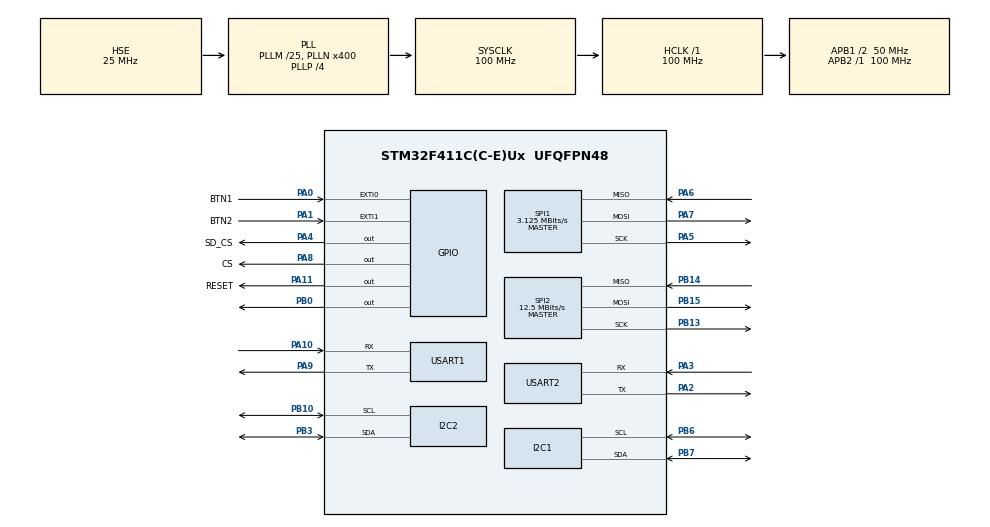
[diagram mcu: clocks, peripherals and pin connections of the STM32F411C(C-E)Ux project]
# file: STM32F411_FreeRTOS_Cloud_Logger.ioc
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Dma.Request0=USART2_TX
Dma.Request1=USART1_RX
Dma.USART1_RX.1.Direction=DMA_PERIPH_TO_MEMORY
Dma.USART1_RX.1.FIFOMode=DMA_FIFOMODE_DISABLE
Dma.USART1_RX.1.Instance=DMA2_Stream2
Dma.USART1_RX.1.MemDataAlignment=DMA_MDATAALIGN_BYTE
Dma.USART1_RX.1.MemInc=DMA_MINC_ENABLE
Dma.USART1_RX.1.Mode=DMA_CIRCULAR
Dma.USART1_RX.1.PeriphDataAlignment=DMA_PDATAALIGN_BYTE
Dma.USART1_RX.1.PeriphInc=DMA_PINC_DISABLE
Dma.USART1_RX.1.Priority=DMA_PRIORITY_HIGH
Dma.USART2_TX.0.Direction=DMA_MEMORY_TO_PERIPH
Dma.USART2_TX.0.FIFOMode=DMA_FIFOMODE_DISABLE
Dma.USART2_TX.0.Instance=DMA1_Stream6
Dma.USART2_TX.0.MemDataAlignment=DMA_MDATAALIGN_BYTE
Dma.USART2_TX.0.MemInc=DMA_MINC_ENABLE
Dma.USART2_TX.0.Mode=DMA_NORMAL
Dma.USART2_TX.0.PeriphDataAlignment=DMA_PDATAALIGN_BYTE
Dma.USART2_TX.0.PeriphInc=DMA_PINC_DISABLE
Dma.USART2_TX.0.Priority=DMA_PRIORITY_MEDIUM
FATFS._FS_REENTRANT=0
FREERTOS.Tasks01=defaultTask,24,128,StartDefaultTask,Default,NULL,Dynamic,NULL,NULL
FREERTOS.configTOTAL_HEAP_SIZE=40960
FREERTOS.configUSE_NEWLIB_REENTRANT=1
I2C2.I2C_Mode=I2C_Fast
Mcu.Family=STM32F4
Mcu.Name=STM32F411C(C-E)Ux
Mcu.Package=UFQFPN48
NVIC.DMA1_Stream6_IRQn=true\:5\:0\:false\:false\:true\:true\:false\:true\:true
NVIC.DMA2_Stream2_IRQn=true\:5\:0\:false\:false\:true\:true\:false\:true\:true
NVIC.EXTI0_IRQn=true\:5\:0\:false\:false\:true\:true\:true\:true\:true
NVIC.EXTI1_IRQn=true\:5\:0\:false\:false\:true\:true\:true\:true\:true
NVIC.PriorityGroup=NVIC_PRIORITYGROUP_4
NVIC.TIM4_IRQn=true\:15\:0\:false\:false\:true\:false\:false\:true\:true
NVIC.TimeBase=TIM4_IRQn
NVIC.TimeBaseIP=TIM4
NVIC.USART2_IRQn=true\:5\:0\:false\:false\:true\:true\:true\:true\:true
PA0-WKUP.GPIO_Label=BTN1
PA0-WKUP.GPIO_ModeDefaultEXTI=GPIO_MODE_IT_FALLING
PA0-WKUP.GPIO_PuPd=GPIO_PULLUP
PA0-WKUP.Signal=GPXTI0
PA1.GPIO_Label=BTN2
PA1.GPIO_ModeDefaultEXTI=GPIO_MODE_IT_FALLING
PA1.GPIO_PuPd=GPIO_PULLUP
PA1.Signal=GPXTI1
PA10.Mode=Asynchronous
PA10.Signal=USART1_RX
PA11.GPIO_Label=RESET
PA11.GPIO_Speed=GPIO_SPEED_FREQ_HIGH
PA11.PinState=GPIO_PIN_SET
PA11.Signal=GPIO_Output
PA13.Mode=Serial_Wire
PA13.Signal=SYS_JTMS-SWDIO
PA14.Mode=Serial_Wire
PA14.Signal=SYS_JTCK-SWCLK
PA2.Mode=Asynchronous
PA2.Signal=USART2_TX
PA3.Mode=Asynchronous
PA3.Signal=USART2_RX
PA4.GPIO_Label=SD_CS
PA4.GPIO_Speed=GPIO_SPEED_FREQ_HIGH
PA4.PinState=GPIO_PIN_SET
PA4.Signal=GPIO_Output
PA5.Mode=Full_Duplex_Master
PA5.Signal=SPI1_SCK
PA6.Mode=Full_Duplex_Master
PA6.Signal=SPI1_MISO
PA7.Mode=Full_Duplex_Master
PA7.Signal=SPI1_MOSI
PA8.GPIO_Label=CS
PA8.GPIO_Speed=GPIO_SPEED_FREQ_HIGH
PA8.PinState=GPIO_PIN_SET
PA8.Signal=GPIO_Output
PA9.Mode=Asynchronous
PA9.Signal=USART1_TX
PB0.GPIO_ModeDefaultOutputPP=GPIO_MODE_OUTPUT_OD
PB0.GPIO_PuPd=GPIO_PULLUP
PB0.GPIO_Speed=GPIO_SPEED_FREQ_HIGH
PB0.PinState=GPIO_PIN_SET
PB0.Signal=GPIO_Output
PB10.Mode=I2C
PB10.Signal=I2C2_SCL
PB13.Mode=Full_Duplex_Master
PB13.Signal=SPI2_SCK
PB14.Mode=Full_Duplex_Master
PB14.Signal=SPI2_MISO
PB15.Mode=Full_Duplex_Master
PB15.Signal=SPI2_MOSI
PB3.Mode=I2C
PB3.Signal=I2C2_SDA
PB6.Mode=I2C
PB6.Signal=I2C1_SCL
PB7.Mode=I2C
PB7.Signal=I2C1_SDA
PH0\ -\ OSC_IN.Mode=HSE-External-Oscillator
PH0\ -\ OSC_IN.Signal=RCC_OSC_IN
PH1\ -\ OSC_OUT.Mode=HSE-External-Oscillator
PH1\ -\ OSC_OUT.Signal=RCC_OSC_OUT
ProjectManager.HeapSize=0x200
ProjectManager.StackSize=0x400
ProjectManager.TargetToolchain=STM32CubeIDE
RCC.48MHZClocksFreq_Value=100000000
RCC.AHBFreq_Value=100000000
RCC.APB1CLKDivider=RCC_HCLK_DIV2
RCC.APB1Freq_Value=50000000
RCC.APB1TimFreq_Value=100000000
RCC.APB2Freq_Value=100000000
RCC.APB2TimFreq_Value=100000000
RCC.CortexFreq_Value=100000000
RCC.HCLKFreq_Value=100000000
RCC.HSE_VALUE=25000000
RCC.HSI_VALUE=16000000
RCC.LSE_VALUE=32768
RCC.PLLM=25
RCC.PLLN=400
RCC.PLLP=RCC_PLLP_DIV4
RCC.PLLSourceVirtual=RCC_PLLSOURCE_HSE
RCC.SYSCLKFreq_VALUE=100000000
RCC.SYSCLKSource=RCC_SYSCLKSOURCE_PLLCLK
RCC.VCOOutputFreq_Value=400000000
SPI1.BaudRatePrescaler=SPI_BAUDRATEPRESCALER_32
SPI1.CalculateBaudRate=3.125 MBits/s
SPI1.Direction=SPI_DIRECTION_2LINES
SPI1.Mode=SPI_MODE_MASTER
SPI1.VirtualType=VM_MASTER
SPI2.BaudRatePrescaler=SPI_BAUDRATEPRESCALER_4
SPI2.CalculateBaudRate=12.5 MBits/s
SPI2.Direction=SPI_DIRECTION_2LINES
SPI2.Mode=SPI_MODE_MASTER
SPI2.VirtualType=VM_MASTER
USART1.VirtualMode=VM_ASYNC
USART2.VirtualMode=VM_ASYNC
VP_FATFS_VS_Generic.Mode=User_defined
VP_FREERTOS_VS_CMSIS_V2.Mode=CMSIS_V2
VP_SYS_VS_tim4.Mode=TIM4
board=custom

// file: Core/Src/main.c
/* USER CODE BEGIN Header */
/**
 ******************************************************************************
 * @file           : main.c
 * @brief          : Main program body
 ******************************************************************************
 * @attention
 *
 * Copyright (c) 2026 STMicroelectronics.
 * All rights reserved.
 *
 * This software is licensed under terms that can be found in the LICENSE file
 * in the root directory of this software component.
 * If no LICENSE file comes with this software, it is provided AS-IS.
 *
 ******************************************************************************
 */
/* USER CODE END Header */

#include "main.h"
#include "cmsis_os.h"
#include "fatfs.h"

/* USER CODE BEGIN Includes */

#include "dwt.h"
#include "usart2.h"
#include "button.h"
#include "sensor_data.h"

#include "dht11_task.h"
#include "imu_rtc_task.h"
#include "button_task.h"
#include "lcd_task.h"
#include "sd_task.h"
#include "net_task.h"
#include "cloud_task.h"

/* USER CODE END Includes */

I2C_HandleTypeDef hi2c1;
I2C_HandleTypeDef hi2c2;

SPI_HandleTypeDef hspi1;
SPI_HandleTypeDef hspi2;

UART_HandleTypeDef huart1;
UART_HandleTypeDef huart2;
DMA_HandleTypeDef hdma_usart1_rx;
DMA_HandleTypeDef hdma_usart2_tx;

/* Definitions for defaultTask */
osThreadId_t defaultTaskHandle;
const osThreadAttr_t defaultTask_attributes = {
  .name = "defaultTask",
  .stack_size = 256 * 4,
  .priority = (osPriority_t) osPriorityNormal,
};

void SystemClock_Config(void);
static void MX_GPIO_Init(void);
static void MX_DMA_Init(void);
static void MX_USART2_UART_Init(void);
static void MX_I2C1_Init(void);
static void MX_I2C2_Init(void);
static void MX_SPI1_Init(void);
static void MX_SPI2_Init(void);
static void MX_USART1_UART_Init(void);
void StartDefaultTask(void *argument);

int main(void)
{

  /* MCU Configuration--------------------------------------------------------*/

  /* Reset of all peripherals, Initializes the Flash interface and the Systick. */
  HAL_Init();

  /* Configure the system clock */
  SystemClock_Config();

  /* Initialize all configured peripherals */
  MX_GPIO_Init();
  MX_DMA_Init();
  MX_USART2_UART_Init();
  MX_I2C1_Init();
  MX_I2C2_Init();
  MX_SPI1_Init();
  MX_FATFS_Init();
  MX_SPI2_Init();
  MX_USART1_UART_Init();
  /* USER CODE BEGIN 2 */

  DWT_Init();
  USART2_Init();
  SensorData_Init();

  Button_Init();

  /* USER CODE END 2 */

  /* Init scheduler */
  osKernelInitialize();

  /* Create the thread(s) */
  /* creation of defaultTask */
  defaultTaskHandle = osThreadNew(StartDefaultTask, NULL, &defaultTask_attributes);

  /* USER CODE BEGIN RTOS_THREADS */
  xTaskCreate(vDht11Task, "DHT11", 384, NULL, 5, NULL);

  xTaskCreate(vImuRtcTask, "IMU_RTC", 512, NULL, 4, NULL);

  xTaskCreate(vButtonTask, "BTN", 384, NULL, 3, NULL);
  xTaskCreate(vSdTask, "SD", 768, NULL, 3, NULL);

  xTaskCreate(vLcdTask, "LCD", 512, NULL, 2, NULL);
  xTaskCreate(vNetTask, "NET", 768, NULL, 2, NULL);

  xTaskCreate(vCloudTask, "CLOUD", 768, NULL, 1, NULL);

  /* USER CODE END RTOS_THREADS */

  /* Start scheduler */
  osKernelStart();

  /* We should never get here as control is now taken by the scheduler */

  /* Infinite loop */
  while(1)
  {

  }
}

void SystemClock_Config(void)
{
  RCC_OscInitTypeDef RCC_OscInitStruct = {0};
  RCC_ClkInitTypeDef RCC_ClkInitStruct = {0};

  /** Configure the main internal regulator output voltage
  */
  __HAL_RCC_PWR_CLK_ENABLE();
  __HAL_PWR_VOLTAGESCALING_CONFIG(PWR_REGULATOR_VOLTAGE_SCALE1);

  /** Initializes the RCC Oscillators according to the specified parameters
  * in the RCC_OscInitTypeDef structure.
  */
  RCC_OscInitStruct.OscillatorType = RCC_OSCILLATORTYPE_HSE;
  RCC_OscInitStruct.HSEState = RCC_HSE_ON;
  RCC_OscInitStruct.PLL.PLLState = RCC_PLL_ON;
  RCC_OscInitStruct.PLL.PLLSource = RCC_PLLSOURCE_HSE;
  RCC_OscInitStruct.PLL.PLLM = 25;
  RCC_OscInitStruct.PLL.PLLN = 400;
  RCC_OscInitStruct.PLL.PLLP = RCC_PLLP_DIV4;
  RCC_OscInitStruct.PLL.PLLQ = 4;
  if (HAL_RCC_OscConfig(&RCC_OscInitStruct) != HAL_OK)
  {
    Error_Handler();
  }

  /** Initializes the CPU, AHB and APB buses clocks
  */
  RCC_ClkInitStruct.ClockType = RCC_CLOCKTYPE_HCLK|RCC_CLOCKTYPE_SYSCLK
                              |RCC_CLOCKTYPE_PCLK1|RCC_CLOCKTYPE_PCLK2;
  RCC_ClkInitStruct.SYSCLKSource = RCC_SYSCLKSOURCE_PLLCLK;
  RCC_ClkInitStruct.AHBCLKDivider = RCC_SYSCLK_DIV1;
  RCC_ClkInitStruct.APB1CLKDivider = RCC_HCLK_DIV2;
  RCC_ClkInitStruct.APB2CLKDivider = RCC_HCLK_DIV1;

  if (HAL_RCC_ClockConfig(&RCC_ClkInitStruct, FLASH_LATENCY_3) != HAL_OK)
  {
    Error_Handler();
  }
}

static void MX_I2C1_Init(void)
{

  hi2c1.Instance = I2C1;
  hi2c1.Init.ClockSpeed = 100000;
  hi2c1.Init.DutyCycle = I2C_DUTYCYCLE_2;
  hi2c1.Init.OwnAddress1 = 0;
  hi2c1.Init.AddressingMode = I2C_ADDRESSINGMODE_7BIT;
  hi2c1.Init.DualAddressMode = I2C_DUALADDRESS_DISABLE;
  hi2c1.Init.OwnAddress2 = 0;
  hi2c1.Init.GeneralCallMode = I2C_GENERALCALL_DISABLE;
  hi2c1.Init.NoStretchMode = I2C_NOSTRETCH_DISABLE;
  if (HAL_I2C_Init(&hi2c1) != HAL_OK)
  {
    Error_Handler();
  }

}

static void MX_I2C2_Init(void)
{

  hi2c2.Instance = I2C2;
  hi2c2.Init.ClockSpeed = 400000;
  hi2c2.Init.DutyCycle = I2C_DUTYCYCLE_2;
  hi2c2.Init.OwnAddress1 = 0;
  hi2c2.Init.AddressingMode = I2C_ADDRESSINGMODE_7BIT;
  hi2c2.Init.DualAddressMode = I2C_DUALADDRESS_DISABLE;
  hi2c2.Init.OwnAddress2 = 0;
  hi2c2.Init.GeneralCallMode = I2C_GENERALCALL_DISABLE;
  hi2c2.Init.NoStretchMode = I2C_NOSTRETCH_DISABLE;
  if (HAL_I2C_Init(&hi2c2) != HAL_OK)
  {
    Error_Handler();
  }

}

static void MX_SPI1_Init(void)
{

  /* SPI1 parameter configuration*/
  hspi1.Instance = SPI1;
  hspi1.Init.Mode = SPI_MODE_MASTER;
  hspi1.Init.Direction = SPI_DIRECTION_2LINES;
  hspi1.Init.DataSize = SPI_DATASIZE_8BIT;
  hspi1.Init.CLKPolarity = SPI_POLARITY_LOW;
  hspi1.Init.CLKPhase = SPI_PHASE_1EDGE;
  hspi1.Init.NSS = SPI_NSS_SOFT;
  hspi1.Init.BaudRatePrescaler = SPI_BAUDRATEPRESCALER_32;
  hspi1.Init.FirstBit = SPI_FIRSTBIT_MSB;
  hspi1.Init.TIMode = SPI_TIMODE_DISABLE;
  hspi1.Init.CRCCalculation = SPI_CRCCALCULATION_DISABLE;
  hspi1.Init.CRCPolynomial = 10;
  if (HAL_SPI_Init(&hspi1) != HAL_OK)
  {
    Error_Handler();
  }

}

static void MX_SPI2_Init(void)
{

  /* SPI2 parameter configuration*/
  hspi2.Instance = SPI2;
  hspi2.Init.Mode = SPI_MODE_MASTER;
  hspi2.Init.Direction = SPI_DIRECTION_2LINES;
  hspi2.Init.DataSize = SPI_DATASIZE_8BIT;
  hspi2.Init.CLKPolarity = SPI_POLARITY_LOW;
  hspi2.Init.CLKPhase = SPI_PHASE_1EDGE;
  hspi2.Init.NSS = SPI_NSS_SOFT;
  hspi2.Init.BaudRatePrescaler = SPI_BAUDRATEPRESCALER_4;
  hspi2.Init.FirstBit = SPI_FIRSTBIT_MSB;
  hspi2.Init.TIMode = SPI_TIMODE_DISABLE;
  hspi2.Init.CRCCalculation = SPI_CRCCALCULATION_DISABLE;
  hspi2.Init.CRCPolynomial = 10;
  if (HAL_SPI_Init(&hspi2) != HAL_OK)
  {
    Error_Handler();
  }

}

static void MX_USART1_UART_Init(void)
{

  huart1.Instance = USART1;
  huart1.Init.BaudRate = 115200;
  huart1.Init.WordLength = UART_WORDLENGTH_8B;
  huart1.Init.StopBits = UART_STOPBITS_1;
  huart1.Init.Parity = UART_PARITY_NONE;
  huart1.Init.Mode = UART_MODE_TX_RX;
  huart1.Init.HwFlowCtl = UART_HWCONTROL_NONE;
  huart1.Init.OverSampling = UART_OVERSAMPLING_16;
  if (HAL_UART_Init(&huart1) != HAL_OK)
  {
    Error_Handler();
  }

}

static void MX_USART2_UART_Init(void)
{

  huart2.Instance = USART2;
  huart2.Init.BaudRate = 115200;
  huart2.Init.WordLength = UART_WORDLENGTH_8B;
  huart2.Init.StopBits = UART_STOPBITS_1;
  huart2.Init.Parity = UART_PARITY_NONE;
  huart2.Init.Mode = UART_MODE_TX_RX;
  huart2.Init.HwFlowCtl = UART_HWCONTROL_NONE;
  huart2.Init.OverSampling = UART_OVERSAMPLING_16;
  if (HAL_UART_Init(&huart2) != HAL_OK)
  {
    Error_Handler();
  }

}

static void MX_DMA_Init(void)
{

  /* DMA controller clock enable */
  __HAL_RCC_DMA1_CLK_ENABLE();
  __HAL_RCC_DMA2_CLK_ENABLE();

  /* DMA interrupt init */
  /* DMA1_Stream6_IRQn interrupt configuration */
  HAL_NVIC_SetPriority(DMA1_Stream6_IRQn, 5, 0);
  HAL_NVIC_EnableIRQ(DMA1_Stream6_IRQn);
  /* DMA2_Stream2_IRQn interrupt configuration */
  HAL_NVIC_SetPriority(DMA2_Stream2_IRQn, 5, 0);
  HAL_NVIC_EnableIRQ(DMA2_Stream2_IRQn);

}

static void MX_GPIO_Init(void)
{
  GPIO_InitTypeDef GPIO_InitStruct = {0};

  /* GPIO Ports Clock Enable */
  __HAL_RCC_GPIOH_CLK_ENABLE();
  __HAL_RCC_GPIOA_CLK_ENABLE();
  __HAL_RCC_GPIOB_CLK_ENABLE();

  /*Configure GPIO pin Output Level */
  HAL_GPIO_WritePin(GPIOA, SD_CS_Pin|CS_Pin|RESET_Pin, GPIO_PIN_SET);

  /*Configure GPIO pin Output Level */
  HAL_GPIO_WritePin(GPIOB, GPIO_PIN_0, GPIO_PIN_SET);

  /*Configure GPIO pins : BTN1_Pin BTN2_Pin */
  GPIO_InitStruct.Pin = BTN1_Pin|BTN2_Pin;
  GPIO_InitStruct.Mode = GPIO_MODE_IT_FALLING;
  GPIO_InitStruct.Pull = GPIO_PULLUP;
  HAL_GPIO_Init(GPIOA, &GPIO_InitStruct);

  /*Configure GPIO pins : SD_CS_Pin CS_Pin RESET_Pin */
  GPIO_InitStruct.Pin = SD_CS_Pin|CS_Pin|RESET_Pin;
  GPIO_InitStruct.Mode = GPIO_MODE_OUTPUT_PP;
  GPIO_InitStruct.Pull = GPIO_NOPULL;
  GPIO_InitStruct.Speed = GPIO_SPEED_FREQ_HIGH;
  HAL_GPIO_Init(GPIOA, &GPIO_InitStruct);

  /*Configure GPIO pin : PB0 */
  GPIO_InitStruct.Pin = GPIO_PIN_0;
  GPIO_InitStruct.Mode = GPIO_MODE_OUTPUT_OD;
  GPIO_InitStruct.Pull = GPIO_PULLUP;
  GPIO_InitStruct.Speed = GPIO_SPEED_FREQ_HIGH;
  HAL_GPIO_Init(GPIOB, &GPIO_InitStruct);

  /* EXTI interrupt init*/
  HAL_NVIC_SetPriority(EXTI0_IRQn, 5, 0);
  HAL_NVIC_EnableIRQ(EXTI0_IRQn);

  HAL_NVIC_SetPriority(EXTI1_IRQn, 5, 0);
  HAL_NVIC_EnableIRQ(EXTI1_IRQn);

}

void StartDefaultTask(void *argument)
{
  for(;;)
  {
    osDelay(1);
  }
}

void HAL_TIM_PeriodElapsedCallback(TIM_HandleTypeDef *htim)
{
  if (htim->Instance == TIM4)
  {
    HAL_IncTick();
  }
}

void Error_Handler(void)
{
  __disable_irq();
  while(1)
  {
  }
}
